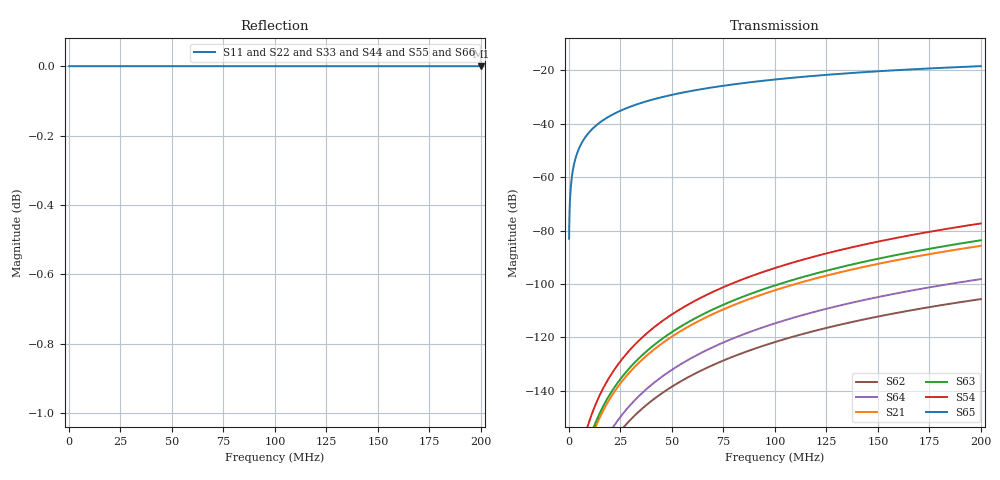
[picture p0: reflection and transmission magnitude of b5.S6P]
!Generated from: C:\Users\nkfzm\OneDrive - University of Missouri\Desktop\Research\PowerSI\Board 5 - 6P\b5.spd
! Port1_DF1::pwr
! Port2_DF1::pwr1
! Port3_DF1::pwr2
! Port4_DF1::pwr3
! Port5_DF1::pwr4
! Port6_DF1::pwr5
!Layout Workbench Version: 24.1.0.10141.541387  000
!Computer Host Name: RS29JQCX3
!TouchstoneFormatFlag = 1
! GNDNET GND
! NETSLIST
#	Hz	S	RI	R	50
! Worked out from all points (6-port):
!   127 points, 100 kHz to 200 MHz, reference 50 ohm
!   strongest paths, dB at 100 kHz, 15 MHz, 74 MHz, 138 MHz, 200 MHz:
!     S65: -83.0, -39.5, -25.9, -20.9, -18.4
!     S54: -, -141.6, -101.5, -86.1, -77.3
!     S63: -, -148.3, -108.1, -92.6, -83.6
!     S21: -, -149.9, -109.8, -94.5, -85.7
!     S64: -, -162.5, -122.2, -106.9, -98.2
!     S62: -, -167.2, -129.0, -114.1, -105.6
!   lowest |S11| = 0.0 dB at 200 MHz (marker M1)
!   |S11| at or under -10 dB: nowhere
